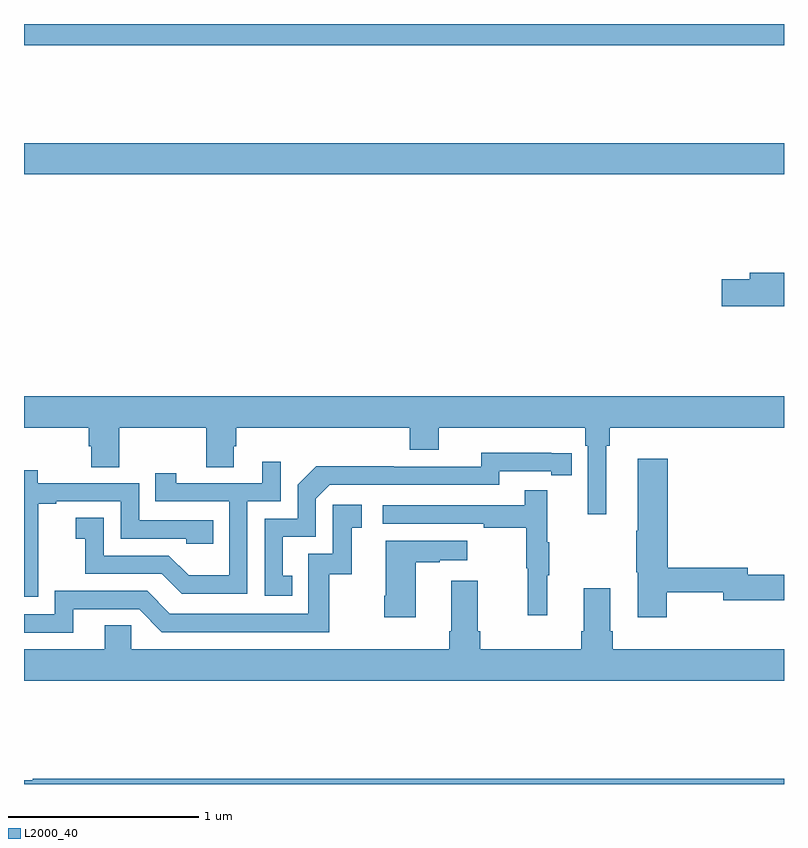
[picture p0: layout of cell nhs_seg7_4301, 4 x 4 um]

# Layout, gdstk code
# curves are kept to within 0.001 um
import gdstk
lib = gdstk.Library(unit=1e-6, precision=1e-09)
def R(c, l, rs):  # rectangles x0, y0, x1, y1
    for r in rs: c.add(gdstk.rectangle(r[:2], r[2:], *l))
def P(c, l, *ps):  # polygons
    for p in ps: c.add(gdstk.Polygon(p, *l))
L2000_40 = (2000, 40)

nhs_seg7_4301 = lib.new_cell('nhs_seg7_4301')
R(nhs_seg7_4301, L2000_40, [(381,1075.208,385,1075.372), (381,1075.888,385,1076)])
P(nhs_seg7_4301, L2000_40, [(385,1074.692),(384.821,1074.692),(384.821,1074.656),(384.672,1074.656),(384.672,1074.514),(385,1074.514)],
  [(384.064,1073.78),(384.083,1073.78),(384.083,1073.876),(385,1073.876),(385,1074.04),(381,1074.04),(381,1073.876),(381.341,1073.876),(381.341,1073.778),(381.353,1073.778),(381.353,1073.668),(381.501,1073.668),(381.501,1073.876),(381.958,1073.876),(381.958,1073.668),(382.105,1073.668),(382.105,1073.778),(382.118,1073.778),(382.118,1073.876),(383.03,1073.876),(383.03,1073.759),(383.182,1073.759),(383.182,1073.876),(383.954,1073.876),(383.954,1073.78),(383.967,1073.78),(383.967,1073.421),(384.064,1073.421)],
  [(382.412,1073.097),(382.363,1073.097),(382.363,1073.301),(382.536,1073.301),(382.536,1073.502),(382.608,1073.574),(383.502,1073.574),(383.502,1073.646),(383.774,1073.646),(383.774,1073.626),(383.882,1073.626),(383.882,1073.742),(383.406,1073.743),(383.406,1073.67),(382.946,1073.67),(382.946,1073.672),(382.538,1073.672),(382.44,1073.574),(382.44,1073.397),(382.266,1073.397),(382.266,1072.992),(382.412,1072.992)],
  [(384.384,1073.01),(384.68,1073.01),(384.68,1072.967),(385,1072.967),(385,1073.102),(384.808,1073.102),(384.808,1073.138),(384.389,1073.138),(384.389,1073.713),(384.23,1073.713),(384.23,1073.333),(384.223,1073.333),(384.223,1073.115),(384.23,1073.115),(384.23,1072.878),(384.384,1072.878)],
  [(382.176,1073.487),(382.35,1073.487),(382.35,1073.695),(382.253,1073.695),(382.253,1073.583),(381.802,1073.583),(381.802,1073.635),(381.691,1073.635),(381.691,1073.487),(382.08,1073.487),(382.08,1073.098),(381.866,1073.098),(381.762,1073.202),(381.42,1073.202),(381.42,1073.401),(381.273,1073.401),(381.273,1073.291),(381.322,1073.291),(381.322,1073.106),(381.725,1073.106),(381.83,1073.001),(382.176,1073.001)],
  [(381.075,1073.191),(381.074,1073.191),(381.074,1073.475),(381.169,1073.475),(381.169,1073.487),(381.51,1073.487),(381.51,1073.292),(381.855,1073.292),(381.855,1073.265),(381.995,1073.265),(381.995,1073.388),(381.606,1073.388),(381.606,1073.583),(381.072,1073.583),(381.072,1073.652),(381,1073.652),(381,1072.985),(381.075,1072.985)],
  [(383.753,1073.099),(383.764,1073.099),(383.764,1073.273),(383.753,1073.273),(383.753,1073.545),(383.635,1073.545),(383.635,1073.466),(382.887,1073.466),(382.887,1073.37),(383.419,1073.37),(383.419,1073.35),(383.643,1073.35),(383.643,1073.136),(383.65,1073.136),(383.65,1072.887),(383.753,1072.887)],
  [(381.259,1072.92),(381.606,1072.92),(381.726,1072.8),(382.606,1072.8),(382.606,1073.103),(382.724,1073.103),(382.724,1073.349),(382.777,1073.349),(382.777,1073.47),(382.626,1073.47),(382.626,1073.211),(382.497,1073.211),(382.497,1072.896),(381.768,1072.896),(381.648,1073.016),(381.162,1073.016),(381.162,1072.893),(381,1072.893),(381,1072.797),(381.259,1072.797)],
  [(383.062,1073.167),(383.189,1073.167),(383.189,1073.177),(383.332,1073.177),(383.332,1073.281),(382.904,1073.281),(382.904,1072.99),(382.897,1072.99),(382.897,1072.878),(383.062,1072.878)],
  [(385,1072.708),(384.098,1072.708),(384.098,1072.804),(384.085,1072.804),(384.085,1073.029),(383.945,1073.029),(383.945,1072.804),(383.933,1072.804),(383.933,1072.708),(383.402,1072.708),(383.402,1072.804),(383.389,1072.804),(383.389,1073.071),(383.249,1073.071),(383.249,1072.804),(383.237,1072.804),(383.237,1072.708),(381.564,1072.708),(381.564,1072.835),(381.425,1072.835),(381.425,1072.708),(381,1072.708),(381,1072.544),(385,1072.544)],
  [(385,1072.028),(381.046,1072.028),(381.046,1072.021),(381,1072.021),(381,1072),(385,1072)])

lib.write_gds('nhs_seg7_4301.gds')
